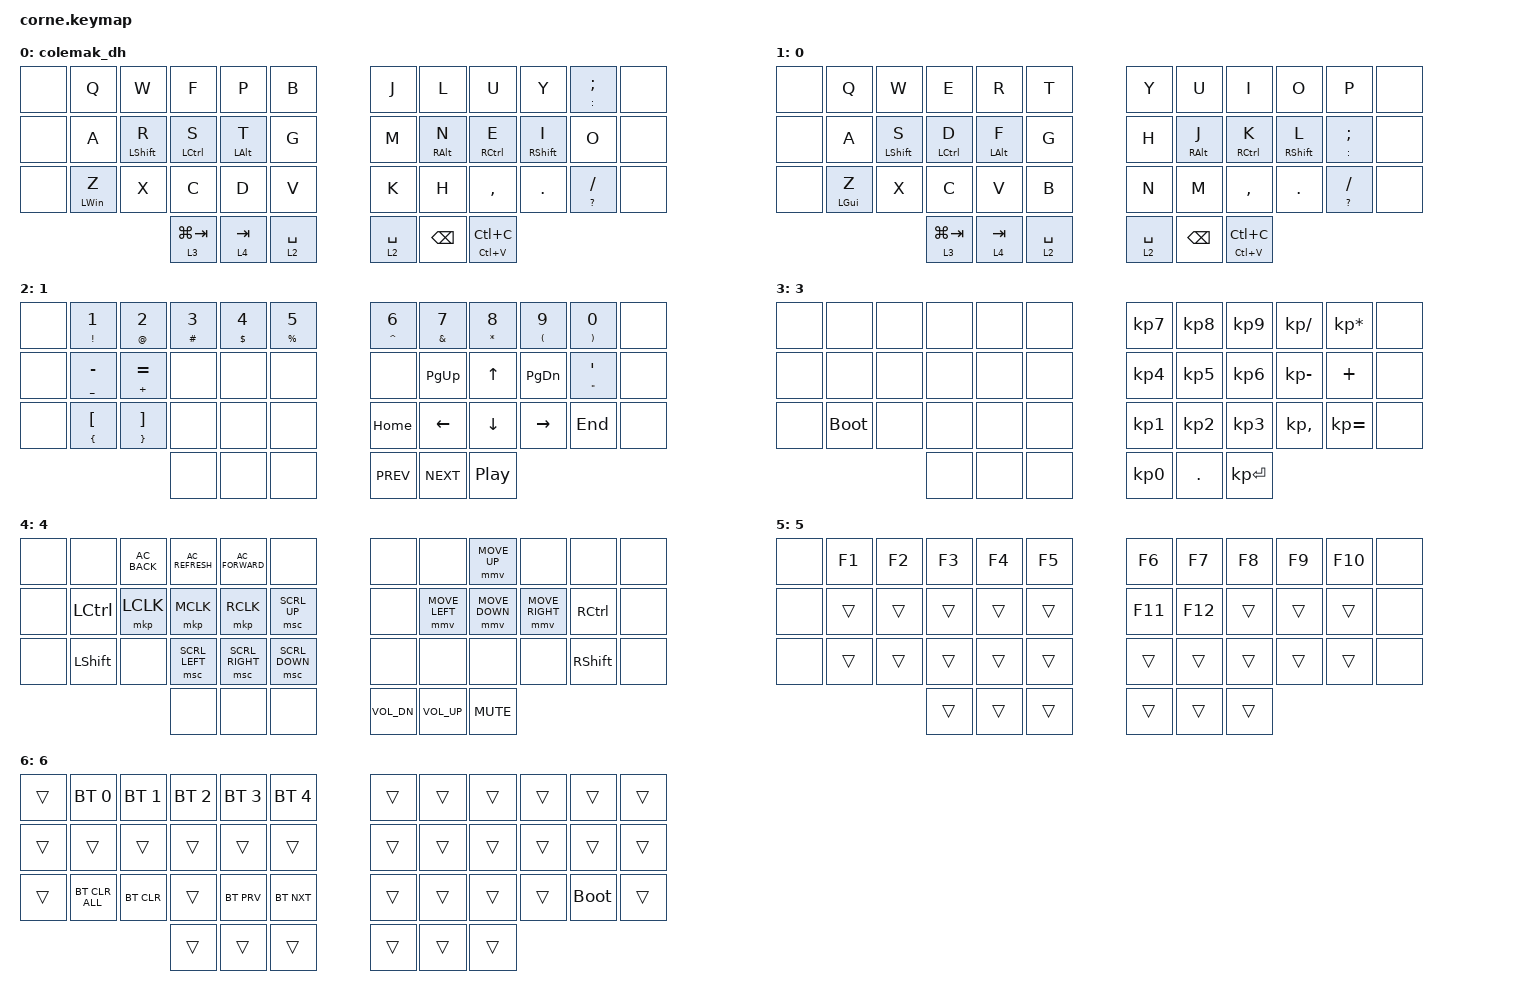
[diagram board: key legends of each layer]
#include <dt-bindings/zmk/mouse.h>
#include <input/processors.dtsi>
#include <behaviors.dtsi>
#include <dt-bindings/zmk/bt.h>
#include <dt-bindings/zmk/keys.h>
#include <dt-bindings/zmk/pointing.h>

/*

   &mmv_input_listener {
       input-processors = <&zip_xy_scaler 2 1>;
   };

   &msc_input_listener {
       input-processors = <&zip_xy_scaler 2 1>;
   };

 */

#define ZMK_MOUSE_DEFAULT_MOVE_VAL 1200  // 600
#define ZMK_MOUSE_DEFAULT_SCRL_VAL 20    // 10

&mt {
    tapping-term-ms = <200>;
    quick-tap-ms = <175>;
    flavor = "balanced";
    hold-trigger-key-positions = <16 17 18 13 12 11 20>;
    hold-trigger-on-release;
};

&mmv {
};

&msc {
};

&lt {
};

/ {
    behaviors {
        mmv {
            acceleration-exponent = <1>;      // 1
            time-to-max-speed-ms = <900>;    // 40
            delay-ms = <0>;                   // 0
        };

        msc {
            acceleration-exponent = <1>;      // 0
            time-to-max-speed-ms = <400>;      // 500
            delay-ms = <0>;                   //   10
        };
    };

    combos {
        compatible = "zmk,combos";

        a {
            bindings = <&mt GRAVE ESCAPE>;
            key-positions = <1 2>;
            layers = <1 0 3>;
        };

        b {
            bindings = <&kp CLCK>;
            key-positions = <13 14 15>;
        };

        d {
            bindings = <&kp DEL>;
            key-positions = <9 10>;
        };

        e {
            bindings = <&kp ENTER>;
            key-positions = <20 21>;
        };

        h {
            bindings = <&sys_reset>;
            key-positions = <1 14 27>;
        };

        j {
            bindings = <&sys_reset>;
            key-positions = <10 21 32>;
        };

        Backslash_pipe {
            bindings = <&mt PIPE BACKSLASH>;
            key-positions = <33 34>;
        };

        print_screen {
            bindings = <&screenshot>;
            key-positions = <25 26 27>;
        };

        num_layer {
            bindings = <&to 3>;
            key-positions = <6 7 8>;
        };

        bt_layer {
            bindings = <&to 6>;
            key-positions = <3 4 5>;
        };

        default_layer {
            bindings = <&to 0>;
            key-positions = <18 19 20 21>;
        };

        f_layer {
            bindings = <&to 5>;
            key-positions = <14 15 16 17>;
        };

        colemak_dh {
            bindings = <&tog 1>;
            key-positions = <34 22>;
        };

        Tilde {
            bindings = <&mt LS(GRAVE) GRAVE>;
            key-positions = <1 2>;
            layers = <2>;
        };
    };

    macros {
        screenshot: screenshot {
            compatible = "zmk,behavior-macro";
            #binding-cells = <0>;
            bindings =
                <&macro_press>,
                <&kp LS(LEFT_GUI)>,
                <&macro_tap>,
                <&kp S>,
                <&macro_release>,
                <&kp LS(LEFT_GUI)>;

            label = "SCREENSHOT";
        };
    };

    keymap {
        compatible = "zmk,keymap";

        colemak_dh {
            bindings = <
&none  &kp Q           &kp W             &kp F          &kp P           &kp B          &kp J        &kp L            &kp U            &kp Y              &mt COLON SEMI      &none
&none  &kp A           &mt LEFT_SHIFT R  &mt LCTRL S    &mt LEFT_ALT T  &kp G          &kp M        &mt RIGHT_ALT N  &mt RCTRL E      &mt RIGHT_SHIFT I  &kp O               &none
&none  &mt LEFT_WIN Z  &kp X             &kp C          &kp D           &kp V          &kp K        &kp H            &kp COMMA        &kp DOT            &mt QUESTION SLASH  &none
                                         &lt 3 LG(TAB)  &lt 4 TAB       &lt 2 SPACE    &lt 2 SPACE  &kp BACKSPACE    &mt LC(V) LC(C)
            >;

            label = "colemak_dh";
        };

        qwerty_layer {
            label = "0";
            bindings = <
&none  &kp Q           &kp W             &kp E          &kp R           &kp T          &kp Y        &kp U            &kp I            &kp O              &kp P                &none
&none  &kp A           &mt LEFT_SHIFT S  &mt LCTRL D    &mt LEFT_ALT F  &kp G          &kp H        &mt RIGHT_ALT J  &mt RCTRL K      &mt RIGHT_SHIFT L  &mt COLON SEMICOLON  &none
&none  &mt LEFT_GUI Z  &kp X             &kp C          &kp V           &kp B          &kp N        &kp M            &kp COMMA        &kp DOT            &mt QUESTION SLASH   &none
                                         &lt 3 LG(TAB)  &lt 4 TAB       &lt 2 SPACE    &lt 2 SPACE  &kp BACKSPACE    &mt LC(V) LC(C)
            >;
        };

        arrow_numbers {
            label = "1";
            bindings = <
&none  &mt EXCLAMATION NUMBER_1     &mt AT_SIGN NUMBER_2           &mt HASH NUMBER_3  &mt DOLLAR NUMBER_4  &mt PERCENT NUMBER_5    &mt CARET NUMBER_6  &mt AMPERSAND NUMBER_7  &mt ASTERISK NUMBER_8  &mt LEFT_PARENTHESIS NUMBER_9  &mt RIGHT_PARENTHESIS NUMBER_0  &none
&none  &mt UNDERSCORE MINUS         &mt PLUS EQUAL                 &none              &none                &none                   &none               &kp PAGE_UP             &kp UP_ARROW           &kp PAGE_DOWN                  &mt DOUBLE_QUOTES SQT           &none
&none  &mt LEFT_BRACE LEFT_BRACKET  &mt RIGHT_BRACE RIGHT_BRACKET  &none              &none                &none                   &kp HOME            &kp LEFT_ARROW          &kp DOWN               &kp RIGHT_ARROW                &kp END                         &none
                                                                   &none              &none                &none                   &kp C_PREV          &kp C_NEXT              &kp C_PLAY_PAUSE
            >;
        };

        number_layer {
            label = "3";
            bindings = <
&none  &none        &none  &none  &none  &none    &kp KP_NUMBER_7  &kp KP_NUMBER_8  &kp KP_NUMBER_9  &kp KP_DIVIDE    &kp KP_MULTIPLY  &none
&none  &none        &none  &none  &none  &none    &kp KP_NUMBER_4  &kp KP_NUMBER_5  &kp KP_NUMBER_6  &kp KP_SUBTRACT  &kp PLUS         &none
&none  &bootloader  &none  &none  &none  &none    &kp KP_NUMBER_1  &kp KP_NUMBER_2  &kp KP_NUMBER_3  &kp KP_COMMA     &kp KP_EQUAL     &none
                           &none  &none  &none    &kp KP_NUMBER_0  &kp PERIOD       &kp KP_ENTER
            >;
        };

        mouse_layer {
            label = "4";
            bindings = <
&none  &none           &kp C_AC_BACK  &kp C_AC_REFRESH  &kp C_AC_FORWARD  &none             &none         &none           &mmv MOVE_UP    &none            &none            &none
&none  &kp LCTRL       &mkp LCLK      &mkp MCLK         &mkp RCLK         &msc SCRL_UP      &none         &mmv MOVE_LEFT  &mmv MOVE_DOWN  &mmv MOVE_RIGHT  &kp RCTRL        &none
&none  &kp LEFT_SHIFT  &none          &msc SCRL_LEFT    &msc SCRL_RIGHT   &msc SCRL_DOWN    &none         &none           &none           &none            &kp RIGHT_SHIFT  &none
                                      &none             &none             &none             &kp C_VOL_DN  &kp C_VOL_UP    &kp K_MUTE
            >;
        };

        f_layer {
            label = "5";
            bindings = <
&none  &kp F1  &kp F2  &kp F3  &kp F4  &kp F5    &kp F6   &kp F7   &kp F8  &kp F9  &kp F10  &none
&none  &trans  &trans  &trans  &trans  &trans    &kp F11  &kp F12  &trans  &trans  &trans   &none
&none  &trans  &trans  &trans  &trans  &trans    &trans   &trans   &trans  &trans  &trans   &none
                       &trans  &trans  &trans    &trans   &trans   &trans
            >;
        };

        bt_layer {
            label = "6";
            bindings = <
&trans  &bt BT_SEL 0    &bt BT_SEL 1  &bt BT_SEL 2  &bt BT_SEL 3  &bt BT_SEL 4    &trans  &trans  &trans  &trans  &trans       &trans
&trans  &trans          &trans        &trans        &trans        &trans          &trans  &trans  &trans  &trans  &trans       &trans
&trans  &bt BT_CLR_ALL  &bt BT_CLR    &trans        &bt BT_PRV    &bt BT_NXT      &trans  &trans  &trans  &trans  &bootloader  &trans
                                      &trans        &trans        &trans          &trans  &trans  &trans
            >;
        };
    };
};
